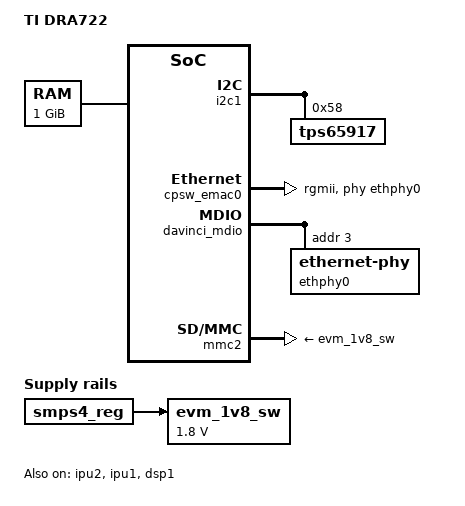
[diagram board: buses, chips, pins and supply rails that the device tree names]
// SPDX-License-Identifier: GPL-2.0-only
/*
 * Copyright (C) 2014-2016 Texas Instruments Incorporated - http://www.ti.com/
 */
#include "dra72-evm-common.dtsi"
#include "dra72x-mmc-iodelay.dtsi"
/ {
	model = "TI DRA722";

	memory@0 {
		device_type = "memory";
		reg = <0x0 0x80000000 0x0 0x40000000>; /* 1024 MB */
	};

	reserved-memory {
		#address-cells = <2>;
		#size-cells = <2>;
		ranges;

		ipu2_memory_region: ipu2-memory@95800000 {
			compatible = "shared-dma-pool";
			reg = <0x0 0x95800000 0x0 0x3800000>;
			reusable;
			status = "okay";
		};

		dsp1_memory_region: dsp1-memory@99000000 {
			compatible = "shared-dma-pool";
			reg = <0x0 0x99000000 0x0 0x4000000>;
			reusable;
			status = "okay";
		};

		ipu1_memory_region: ipu1-memory@9d000000 {
			compatible = "shared-dma-pool";
			reg = <0x0 0x9d000000 0x0 0x2000000>;
			reusable;
			status = "okay";
		};
	};

	evm_1v8_sw: fixedregulator-evm_1v8 {
		compatible = "regulator-fixed";
		regulator-name = "evm_1v8";
		regulator-min-microvolt = <1800000>;
		regulator-max-microvolt = <1800000>;
		vin-supply = <&smps4_reg>;
		regulator-always-on;
		regulator-boot-on;
	};
};

&i2c1 {
	tps65917: tps65917@58 {
		reg = <0x58>;

		interrupts = <GIC_SPI 2 IRQ_TYPE_NONE>;  /* IRQ_SYS_1N */
	};
};

#include "dra72-evm-tps65917.dtsi"

&hdmi {
	vdda-supply = <&ldo3_reg>;
};

&pcf_gpio_21 {
	interrupt-parent = <&gpio6>;
	interrupts = <11 IRQ_TYPE_EDGE_FALLING>;
};

&mac {
	slaves = <1>;
	mode-gpios = <&pcf_gpio_21 4 GPIO_ACTIVE_HIGH>;
};

&cpsw_emac0 {
	phy-handle = <&ethphy0>;
	phy-mode = "rgmii";
};

&davinci_mdio {
	ethphy0: ethernet-phy@3 {
		reg = <3>;
	};
};

&mmc1 {
	pinctrl-names = "default", "hs", "sdr12", "sdr25", "sdr50", "ddr50", "sdr104";
	pinctrl-0 = <&mmc1_pins_default>;
	pinctrl-1 = <&mmc1_pins_hs>;
	pinctrl-2 = <&mmc1_pins_sdr12>;
	pinctrl-3 = <&mmc1_pins_sdr25>;
	pinctrl-4 = <&mmc1_pins_sdr50>;
	pinctrl-5 = <&mmc1_pins_ddr50_rev10>;
	pinctrl-6 = <&mmc1_pins_sdr104 &mmc1_iodelay_sdr104_rev10_conf>;
	vqmmc-supply = <&ldo1_reg>;
};

&mmc2 {
	pinctrl-names = "default", "hs", "ddr_1_8v", "hs200_1_8v";
	pinctrl-0 = <&mmc2_pins_default>;
	pinctrl-1 = <&mmc2_pins_hs>;
	pinctrl-2 = <&mmc2_pins_ddr_rev10>;
	pinctrl-3 = <&mmc2_pins_hs200 &mmc2_iodelay_hs200_rev10_conf>;
	vmmc-supply = <&evm_1v8_sw>;
};

&ipu2 {
	status = "okay";
	memory-region = <&ipu2_memory_region>;
};

&ipu1 {
	status = "okay";
	memory-region = <&ipu1_memory_region>;
};

&dsp1 {
	status = "okay";
	memory-region = <&dsp1_memory_region>;
};
